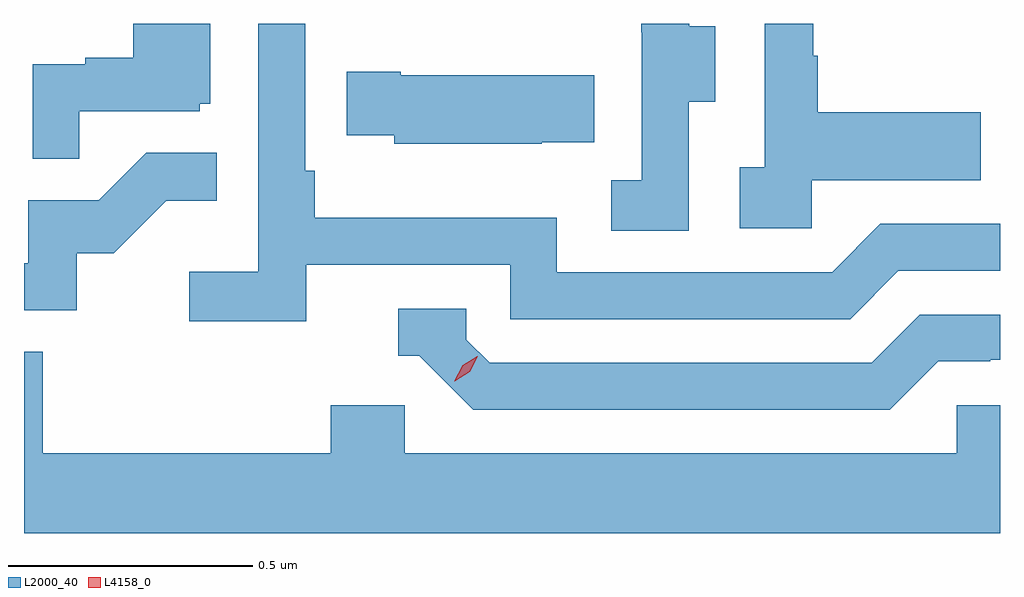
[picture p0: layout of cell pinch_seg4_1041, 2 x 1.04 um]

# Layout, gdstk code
import gdstk
lib = gdstk.Library(unit=1e-6, precision=1e-09)
def P(c, l, *ps):  # polygons
    for p in ps: c.add(gdstk.Polygon(p, *l))
L2000_40 = (2000, 40)
L4158_0 = (4158, 0)

pinch_seg4_1041 = lib.new_cell('pinch_seg4_1041')
P(pinch_seg4_1041, L2000_40, [(797.406,789.712),(797.461,789.712),(797.461,789.867),(797.407,789.867),(797.407,789.872),(797.309,789.872),(797.309,789.855),(797.31,789.855),(797.31,789.551),(797.247,789.551),(797.247,789.448),(797.406,789.448)],
  [(796.157,789.693),(796.404,789.693),(796.404,789.708),(796.426,789.708),(796.426,789.872),(796.268,789.872),(796.268,789.802),(796.169,789.802),(796.169,789.789),(796.062,789.789),(796.062,789.595),(796.157,789.595)],
  [(797.658,789.551),(798.005,789.551),(798.005,789.691),(797.671,789.691),(797.671,789.806),(797.661,789.806),(797.661,789.872),(797.562,789.872),(797.562,789.578),(797.511,789.578),(797.511,789.453),(797.658,789.453)],
  [(796.622,789.378),(797.04,789.378),(797.04,789.267),(797.737,789.267),(797.836,789.366),(798.044,789.366),(798.044,789.462),(797.799,789.462),(797.7,789.363),(797.136,789.363),(797.136,789.475),(796.64,789.475),(796.64,789.571),(796.62,789.571),(796.62,789.872),(796.524,789.872),(796.524,789.364),(796.383,789.364),(796.383,789.262),(796.622,789.262)],
  [(797.105,789.629),(797.213,789.629),(797.213,789.766),(796.816,789.766),(796.816,789.774),(796.705,789.774),(796.705,789.644),(796.803,789.644),(796.803,789.626),(797.105,789.626)],
  [(796.152,789.402),(796.228,789.402),(796.335,789.509),(796.439,789.509),(796.439,789.608),(796.295,789.608),(796.197,789.51),(796.053,789.51),(796.053,789.381),(796.044,789.381),(796.044,789.285),(796.152,789.285)],
  [(797.917,789.18),(798.024,789.18),(798.024,789.183),(798.044,789.183),(798.044,789.276),(797.88,789.276),(797.781,789.177),(796.998,789.177),(796.95,789.225),(796.95,789.288),(796.811,789.288),(796.811,789.192),(796.854,789.192),(796.965,789.081),(797.818,789.081)],
  [(798.044,789.09),(797.955,789.09),(797.955,788.992),(796.824,788.992),(796.824,789.09),(796.673,789.09),(796.673,788.992),(796.082,788.992),(796.082,789.2),(796.044,789.2),(796.044,788.828),(798.044,788.828)])
P(pinch_seg4_1041, L4158_0, [(796.926,789.139),(796.926,789.139),(796.943,789.172),(796.973,789.191),(796.974,789.191),(796.974,789.191),(796.957,789.159),(796.927,789.139)])

lib.write_gds('pinch_seg4_1041.gds')
